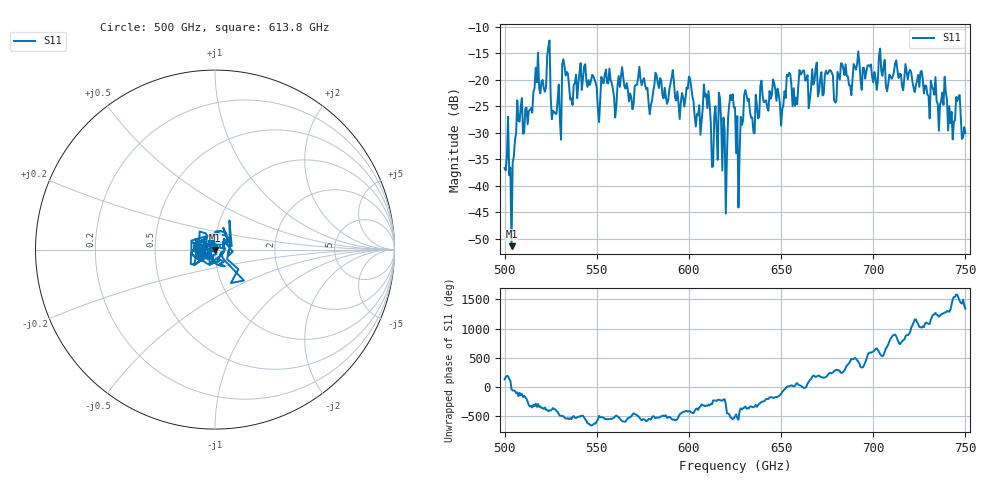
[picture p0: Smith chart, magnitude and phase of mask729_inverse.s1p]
!Created with skrf (http://scikit-rf.org).
# GHz S MA R 50.0
!freq magS11 angS11
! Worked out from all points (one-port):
!   401 points, 500 GHz to 750 GHz, reference 50 ohm
!   lowest |S11| = -51.4 dB at 503.8 GHz (marker M1), VSWR 1.01, Z = 50.2 - j0.193 ohm
!   |S11| at or under -10 dB: start of sweep to end of sweep
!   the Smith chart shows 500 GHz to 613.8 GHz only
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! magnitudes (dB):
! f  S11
! 500 GHz  -36.6
! 503.8 GHz  -51.4
! 508.1 GHz  -27.9
! 513.8 GHz  -25.6
! 516.9 GHz  -17.7
! 523.8 GHz  -13.7
! 526.9 GHz  -26.1
! 531.2 GHz  -17.1
! 532.5 GHz  -17.4
! 550.6 GHz  -25.7
! 562.5 GHz  -21.3
! 593.8 GHz  -22.2
! 609.4 GHz  -22.7
! 612.5 GHz  -36.4
! 617.5 GHz  -28.2
! 619.4 GHz  -29.4
! 622.5 GHz  -22.8
! 625 GHz  -25.2
! 626.9 GHz  -44.1
! 631.2 GHz  -22.9
! 634.4 GHz  -27.1
! 656.2 GHz  -25.0
! 687.5 GHz  -21.1
! 718.8 GHz  -19.9
! 738.8 GHz  -19.4
! 741.9 GHz  -28.2
! 746.2 GHz  -23.2
! 750 GHz  -30.0
